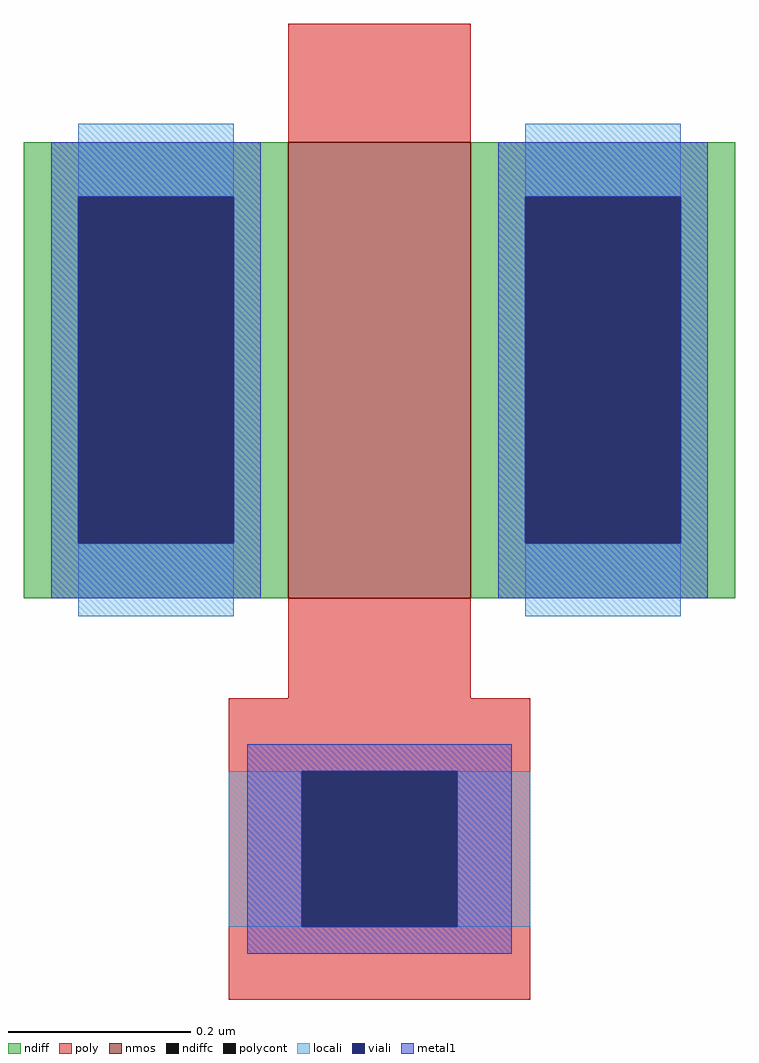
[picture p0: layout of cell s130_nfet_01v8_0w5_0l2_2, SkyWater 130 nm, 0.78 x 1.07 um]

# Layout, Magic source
magic
tech sky130A
magscale 1 2
<< nmos >>
rect -20 -19 20 81
<< ndiff >>
rect -78 69 -20 81
rect -78 -7 -66 69
rect -32 -7 -20 69
rect -78 -19 -20 -7
rect 20 69 78 81
rect 20 -7 32 69
rect 66 -7 78 69
rect 20 -19 78 -7
<< ndiffc >>
rect -66 -7 -32 69
rect 32 -7 66 69
<< poly >>
rect -20 81 20 107
rect -20 -41 20 -19
rect -33 -57 33 -41
rect -33 -91 -17 -57
rect 17 -91 33 -57
rect -33 -107 33 -91
<< polycont >>
rect -17 -91 17 -57
<< locali >>
rect -66 69 -32 85
rect -66 -23 -32 -7
rect 32 69 66 85
rect 32 -23 66 -7
rect -33 -91 -17 -57
rect 17 -91 33 -57
<< viali >>
rect -66 -7 -32 69
rect 32 -7 66 69
rect -17 -91 17 -57
<< metal1 >>
rect -72 69 -26 81
rect -72 -7 -66 69
rect -32 -7 -26 69
rect -72 -19 -26 -7
rect 26 69 72 81
rect 26 -7 32 69
rect 66 -7 72 69
rect 26 -19 72 -7
rect -29 -57 29 -51
rect -29 -91 -17 -57
rect 17 -91 29 -57
rect -29 -97 29 -91
<< properties >>
string gencell sky130_fd_pr__nfet_01v8
string library sky130
string parameters w 0.5 l 0.2 m 1 nf 1 diffcov 100 polycov 100 guard 0 glc 1 grc 1 gtc 1 gbc 1 tbcov 100 rlcov 100 topc 0 botc 1 poverlap 0 doverlap 0 lmin 0.15 wmin 0.42 class mosfet compatible {sky130_fd_pr__nfet_01v8 sky130_fd_pr__nfet_01v8_lvt  sky130_fd_bs_flash__special_sonosfet_star  sky130_fd_pr__nfet_g5v0d10v5 sky130_fd_pr__nfet_05v0_nvt  sky130_fd_pr__nfet_03v3_nvt} full_metal 1 viasrc 100 viadrn 100 viagate 100 viagb 0 viagr 0 viagl 0 viagt 0
<< end >>
